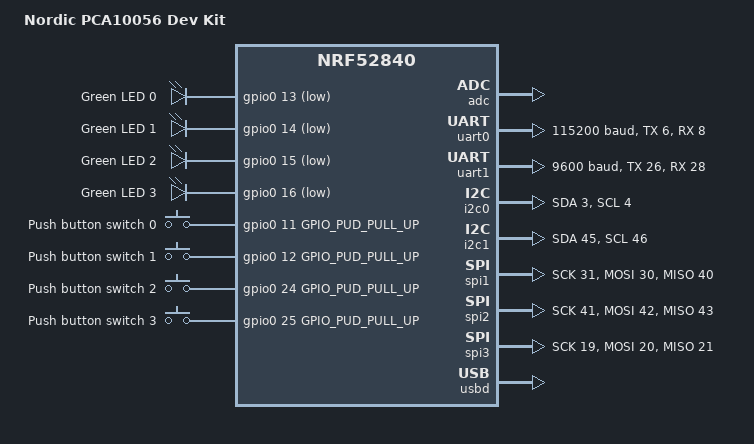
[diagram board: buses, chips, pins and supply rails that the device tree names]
/*
 * Copyright (c) 2017 Linaro Limited
 *
 * SPDX-License-Identifier: Apache-2.0
 */

/dts-v1/;
#include <nordic/nrf52840_qiaa.dtsi>

/ {
	model = "Nordic PCA10056 Dev Kit";
	compatible = "nordic,pca10056-dk", "nordic,nrf52840-qiaa",
		     "nordic,nrf52840";

	chosen {
		zephyr,console = &uart0;
		zephyr,shell-uart = &uart0;
		zephyr,uart-mcumgr = &uart0;
		zephyr,sram = &sram0;
		zephyr,flash = &flash0;
		zephyr,code-partition = &slot0_partition;
	};

	leds {
		compatible = "gpio-leds";
		led0: led_0 {
			gpios = <&gpio0 13 GPIO_INT_ACTIVE_LOW>;
			label = "Green LED 0";
		};
		led1: led_1 {
			gpios = <&gpio0 14 GPIO_INT_ACTIVE_LOW>;
			label = "Green LED 1";
		};
		led2: led_2 {
			gpios = <&gpio0 15 GPIO_INT_ACTIVE_LOW>;
			label = "Green LED 2";
		};
		led3: led_3 {
			gpios = <&gpio0 16 GPIO_INT_ACTIVE_LOW>;
			label = "Green LED 3";
		};
	};

	buttons {
		compatible = "gpio-keys";
		button0: button_0 {
			gpios = <&gpio0 11 GPIO_PUD_PULL_UP>;
			label = "Push button switch 0";
		};
		button1: button_1 {
			gpios = <&gpio0 12 GPIO_PUD_PULL_UP>;
			label = "Push button switch 1";
		};
		button2: button_2 {
			gpios = <&gpio0 24 GPIO_PUD_PULL_UP>;
			label = "Push button switch 2";
		};
		button3: button_3 {
			gpios = <&gpio0 25 GPIO_PUD_PULL_UP>;
			label = "Push button switch 3";
		};
	};

	/* These aliases are provided for compatibility with samples */
	aliases {
		led0 = &led0;
		led1 = &led1;
		led2 = &led2;
		led3 = &led3;
		sw0 = &button0;
		sw1 = &button1;
		sw2 = &button2;
		sw3 = &button3;
	};
};

&adc {
	status ="ok";
};

&gpiote {
	status ="ok";
};

&gpio0 {
	status ="ok";
};

&gpio1 {
	status ="ok";
};

&uart0 {
	compatible = "nordic,nrf-uart";
	current-speed = <115200>;
	status = "ok";
	tx-pin = <6>;
	rx-pin = <8>;
	rts-pin = <5>;
	cts-pin = <7>;
};

&uart1 {
	compatible = "nordic,nrf-uarte";
	current-speed = <9600>;
	status = "ok";
	tx-pin = <26>;
	rx-pin = <28>;
};

&i2c0 {
	status = "ok";
	sda-pin = <3>;
	scl-pin = <4>;
};

&i2c1 {
	status = "ok";
	sda-pin = <45>;
	scl-pin = <46>;
};

&spi0 {
	status = "disabled";
	sck-pin = <27>;
	mosi-pin = <26>;
	miso-pin = <29>;
};

&spi1 {
	/*status = "ok";*/
	sck-pin = <31>;
	mosi-pin = <30>;
	miso-pin = <40>;
};

&spi2 {
	status = "ok";
	sck-pin = <41>;
	mosi-pin = <42>;
	miso-pin = <43>;
};

&spi3 {
	/*status = "ok";*/
	sck-pin = <19>;
	mosi-pin = <20>;
	miso-pin = <21>;
	cs-gpios = <&gpio0 17 0>;
};

&flash0 {
	/*
	 * For more information, see:
	 * http://docs.zephyrproject.org/latest/guides/dts/index.html#flash-partitions
	 */
	partitions {
		compatible = "fixed-partitions";
		#address-cells = <1>;
		#size-cells = <1>;

		boot_partition: partition@0 {
			label = "mcuboot";
			reg = <0x000000000 0x0000D000>;
		};
		slot0_partition: partition@d000 {
			label = "image-0";
			reg = <0x0000D000 0x0000CC000>;
		};
		slot1_partition: partition@d9000 {
			label = "image-1";
			reg = <0x000D9000 0x000001000>;
		};
		scratch_partition: partition@da000 {
			label = "image-scratch";
			reg = <0x000DA000 0x0001E000>;
		};

		/*
		 * The flash starting at 0x000f8000 and ending at
		 * 0x000fffff is reserved for use by the application.
		 */

		/* Storage partition will be used by FCB/NFFS/NVS if enabled. */
		storage_partition: partition@f8000 {
			label = "storage";
			reg = <0x000f8000 0x00008000>;
		};
	};
};

&usbd {
	compatible = "nordic,nrf-usbd";
	status = "ok";
};
